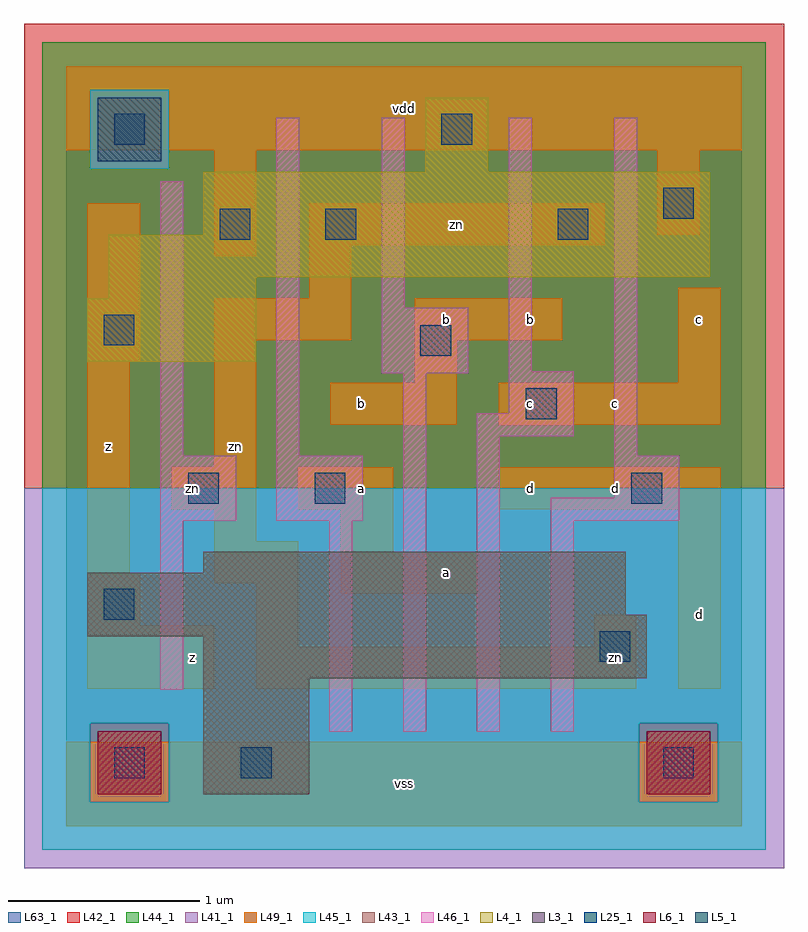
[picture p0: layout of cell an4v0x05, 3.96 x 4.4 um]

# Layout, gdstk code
import gdstk
lib = gdstk.Library(unit=1e-6, precision=1e-09)
def R(c, l, rs):  # rectangles x0, y0, x1, y1
    for r in rs: c.add(gdstk.rectangle(r[:2], r[2:], *l))
L3_1 = (3, 1)
L4_1 = (4, 1)
L5_1 = (5, 1)
L6_1 = (6, 1)
L25_1 = (25, 1)
L41_1 = (41, 1)
L42_1 = (42, 1)
L43_1 = (43, 1)
L44_1 = (44, 1)
L45_1 = (45, 1)
L46_1 = (46, 1)
L49_1 = (49, 1)
L63_1 = (63, 1)

an4v0x05 = lib.new_cell('an4v0x05')
R(an4v0x05, L3_1, [(0.715,0.165,1.265,0.77), (0.715,0.77,3.025,0.99), (0.11,0.99,3.025,1.1), (0.11,1.1,2.915,1.32), (0.715,1.32,2.915,1.43)])
R(an4v0x05, L4_1, [(0.11,2.42,0.99,2.75), (0.22,2.75,0.99,2.86), (0.22,2.86,3.355,3.08), (0.715,3.08,3.355,3.41), (1.87,3.41,2.2,3.795)])
R(an4v0x05, L5_1, [(0.165,3.465,0.495,3.795)])
R(an4v0x05, L6_1, [(0.165,0.165,0.495,0.495), (3.025,0.165,3.355,0.495)])
R(an4v0x05, L25_1, [(0.25,0.25,0.41,0.41), (0.91,0.25,1.07,0.41), (3.11,0.25,3.27,0.41), (2.78,0.855,2.94,1.015), (0.195,1.075,0.355,1.235), (0.635,1.68,0.795,1.84), (1.295,1.68,1.455,1.84), (2.945,1.68,3.105,1.84), (2.395,2.12,2.555,2.28), (1.845,2.45,2.005,2.61), (0.195,2.505,0.355,2.665), (0.8,3.055,0.96,3.215), (1.35,3.055,1.51,3.215), (2.56,3.055,2.72,3.215), (3.11,3.165,3.27,3.325), (0.25,3.55,0.41,3.71), (1.955,3.55,2.115,3.71)])
R(an4v0x05, L41_1, [(-0.22,-0.22,3.74,1.76)])
R(an4v0x05, L42_1, [(-0.22,1.76,3.74,4.18)])
R(an4v0x05, L43_1, [(0.165,0.165,0.495,0.495), (0.715,0.165,1.265,0.77), (3.025,0.165,3.355,0.495), (0.715,0.77,3.025,0.99), (0.11,0.99,3.025,1.1), (0.11,1.1,2.915,1.32), (0.715,1.32,2.915,1.43), (0.11,2.42,0.99,2.75), (0.22,2.75,0.99,2.86), (0.22,2.86,3.355,3.08), (0.715,3.08,3.355,3.41), (1.87,3.41,2.2,3.795), (0.165,3.465,0.495,3.795)])
R(an4v0x05, L44_1, [(0.125,0.125,0.535,0.535), (2.985,0.125,3.395,0.535), (-0.125,1.76,3.645,3.425), (-0.125,3.425,0.125,3.835), (0.535,3.425,3.645,3.835), (-0.125,3.835,3.645,4.085)])
R(an4v0x05, L45_1, [(-0.125,-0.125,3.645,0.125), (-0.125,0.125,0.125,0.535), (0.535,0.125,2.985,0.535), (3.395,0.125,3.645,0.535), (-0.125,0.535,3.645,1.76), (0.125,3.425,0.535,3.835)])
R(an4v0x05, L46_1, [(1.37,0.49,1.49,1.59), (1.755,0.49,1.875,2.36), (2.14,0.49,2.26,2.03), (2.525,0.49,2.645,1.59), (0.49,0.71,0.61,1.59), (0.49,1.59,0.885,1.93), (1.095,1.59,1.545,1.93), (2.525,1.59,3.195,1.71), (2.855,1.71,3.195,1.93), (0.49,1.93,0.61,3.36), (1.095,1.93,1.215,3.69), (2.855,1.93,2.975,3.69), (2.14,2.03,2.645,2.15), (2.305,2.15,2.645,2.37), (1.645,2.36,2.095,2.7), (2.305,2.37,2.425,3.69), (1.645,2.7,1.765,3.69)])
R(an4v0x05, L49_1, [(0,0,3.52,0.44), (0.11,0.715,0.77,1.045), (0.99,0.715,2.97,0.935), (3.19,0.715,3.41,1.65), (0.99,0.935,1.21,1.265), (2.75,0.935,2.97,1.1), (0.11,1.045,0.385,1.32), (1.43,1.21,2.145,1.43), (0.77,1.265,1.21,1.485), (0.11,1.32,0.33,2.42), (1.43,1.43,1.705,1.65), (0.77,1.485,0.99,1.65), (0.55,1.65,0.99,1.87), (1.21,1.65,1.705,1.87), (2.255,1.65,3.41,1.87), (0.77,1.87,0.99,2.53), (1.375,2.09,2.035,2.31), (2.255,2.09,3.41,2.31), (1.815,2.31,2.035,2.53), (3.19,2.31,3.41,2.805), (0.11,2.42,0.385,3.245), (0.77,2.53,1.485,2.75), (1.815,2.53,2.585,2.75), (1.265,2.75,1.485,3.025), (0.77,2.97,0.99,3.52), (1.265,3.025,2.805,3.245), (3.08,3.08,3.3,3.52), (0,3.52,3.52,3.96)])
R(an4v0x05, L63_1, [(0,0,3.52,3.96)])
an4v0x05.add(gdstk.Label('zn', (0.66,1.76), layer=49, texttype=1))
an4v0x05.add(gdstk.Label('z', (0.22,1.98), layer=49, texttype=1))
an4v0x05.add(gdstk.Label('z', (0.66,0.88), layer=49, texttype=1))
an4v0x05.add(gdstk.Label('zn', (0.88,1.98), layer=49, texttype=1))
an4v0x05.add(gdstk.Label('vss', (1.76,0.22), layer=49, texttype=1))
an4v0x05.add(gdstk.Label('a', (1.98,1.32), layer=49, texttype=1))
an4v0x05.add(gdstk.Label('a', (1.54,1.76), layer=49, texttype=1))
an4v0x05.add(gdstk.Label('b', (1.54,2.2), layer=49, texttype=1))
an4v0x05.add(gdstk.Label('b', (1.98,2.64), layer=49, texttype=1))
an4v0x05.add(gdstk.Label('vdd', (1.76,3.74), layer=49, texttype=1))
an4v0x05.add(gdstk.Label('d', (2.42,1.76), layer=49, texttype=1))
an4v0x05.add(gdstk.Label('c', (2.42,2.2), layer=49, texttype=1))
an4v0x05.add(gdstk.Label('b', (2.42,2.64), layer=49, texttype=1))
an4v0x05.add(gdstk.Label('zn', (2.035,3.135), layer=49, texttype=1))
an4v0x05.add(gdstk.Label('zn', (2.86,0.88), layer=49, texttype=1))
an4v0x05.add(gdstk.Label('d', (3.3,1.1), layer=49, texttype=1))
an4v0x05.add(gdstk.Label('d', (2.86,1.76), layer=49, texttype=1))
an4v0x05.add(gdstk.Label('c', (2.86,2.2), layer=49, texttype=1))
an4v0x05.add(gdstk.Label('c', (3.3,2.64), layer=49, texttype=1))

lib.write_gds('an4v0x05.gds')
